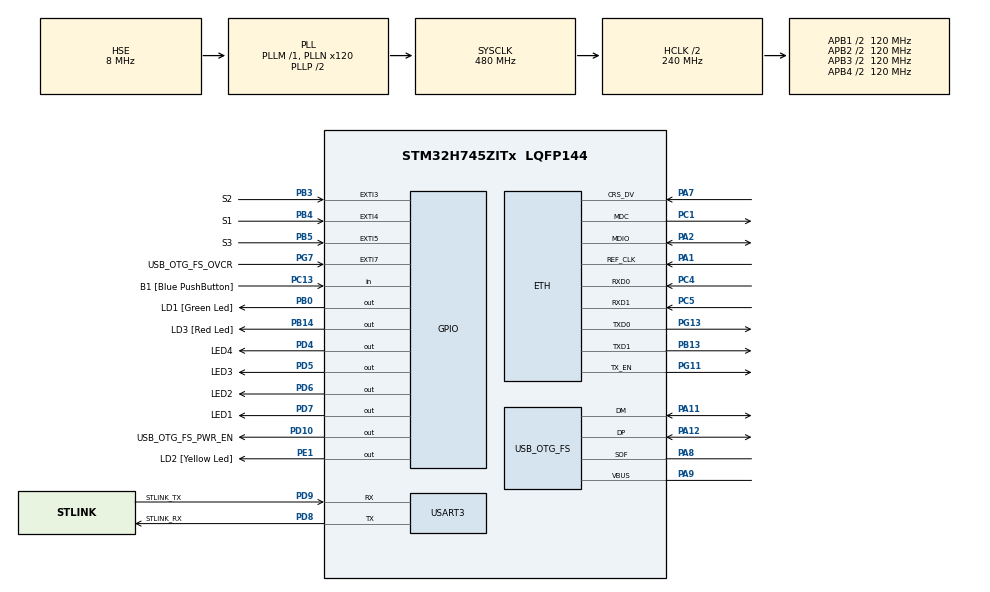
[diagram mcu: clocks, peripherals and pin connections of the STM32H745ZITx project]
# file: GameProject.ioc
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CortexM4.IPs=FATFS_M4\:I,FREERTOS_M4\:I,IWDG2\:I,RCC,WWDG2\:I,DMA,BDMA,MDMA,NVIC2\:I,USART3,ETH,DEBUG,USB_DEVICE_M4\:I,USB_HOST_M4\:I,PDM2PCM_M4\:I,PWR,RESMGR_UTILITY,SYS_M4\:I,CORTEX_M4\:I,OPENAMP_M4\:I,VREFBUF
CortexM4.Pins=PC13,PB3 (JTDO/TRACESWO),PB4 (NJTRST),PB5
CortexM7.IPs=FATFS_M7\:I,FREERTOS_M7\:I,IWDG1\:I,RCC\:I,WWDG1\:I,DMA\:I,BDMA\:I,MDMA\:I,NVIC1\:I,SYS\:I,USART3\:I,USB_OTG_FS\:I,ETH\:I,CORTEX_M7\:I,DEBUG\:I,USB_DEVICE_M7\:I,USB_HOST_M7\:I,PDM2PCM_M7\:I,PWR\:I,RESMGR_UTILITY\:I,OPENAMP_M7\:I,VREFBUF\:I,ADC1\:I
CortexM7.Pins=PB0,PB14,PD4,PD5,PD6,PD7,PE1
ETH.MediaInterface=HAL_ETH_RMII_MODE
Mcu.Family=STM32H7
Mcu.Name=STM32H745ZITx
Mcu.Package=LQFP144
NVIC1.PriorityGroup=NVIC_PRIORITYGROUP_4
NVIC2.EXTI3_IRQn=true\:0\:0\:false\:false\:true\:true\:true
NVIC2.EXTI4_IRQn=true\:0\:0\:false\:false\:true\:true\:true
NVIC2.EXTI9_5_IRQn=true\:0\:0\:false\:false\:true\:true\:true
NVIC2.PriorityGroup=NVIC_PRIORITYGROUP_4
PA1.Mode=RMII
PA1.PinAttribute=CortexM7
PA1.Signal=ETH_REF_CLK
PA11.Mode=Device_Only
PA11.PinAttribute=CortexM7
PA11.Signal=USB_OTG_FS_DM
PA12.Mode=Device_Only
PA12.PinAttribute=CortexM7
PA12.Signal=USB_OTG_FS_DP
PA2.Mode=RMII
PA2.PinAttribute=CortexM7
PA2.Signal=ETH_MDIO
PA7.Mode=RMII
PA7.PinAttribute=CortexM7
PA7.Signal=ETH_CRS_DV
PA8.Mode=Activate_SOF_FS
PA8.PinAttribute=CortexM7
PA8.Signal=USB_OTG_FS_SOF
PA9.Mode=Activate_VBUS
PA9.PinAttribute=CortexM7
PA9.Signal=USB_OTG_FS_VBUS
PB0.GPIO_Label=LD1 [Green Led]
PB0.PinAttribute=CortexM7
PB0.Signal=GPIO_Output
PB13.Mode=RMII
PB13.PinAttribute=CortexM7
PB13.Signal=ETH_TXD1
PB14.GPIO_Label=LD3 [Red Led]
PB14.PinAttribute=CortexM7
PB14.Signal=GPIO_Output
PB3\ (JTDO/TRACESWO).GPIO_Label=S2
PB3\ (JTDO/TRACESWO).GPIO_ModeDefaultEXTI=GPIO_MODE_IT_FALLING
PB3\ (JTDO/TRACESWO).PinAttribute=CortexM4
PB3\ (JTDO/TRACESWO).Signal=GPXTI3
PB4\ (NJTRST).GPIO_Label=S1
PB4\ (NJTRST).GPIO_ModeDefaultEXTI=GPIO_MODE_IT_FALLING
PB4\ (NJTRST).PinAttribute=CortexM4
PB4\ (NJTRST).Signal=GPXTI4
PB5.GPIO_Label=S3
PB5.GPIO_ModeDefaultEXTI=GPIO_MODE_IT_FALLING
PB5.PinAttribute=CortexM4
PB5.Signal=GPXTI5
PC1.Mode=RMII
PC1.PinAttribute=CortexM7
PC1.Signal=ETH_MDC
PC13.GPIO_Label=B1 [Blue PushButton]
PC13.PinAttribute=CortexM4
PC13.Signal=GPIO_Input
PC14-OSC32_IN\ (OSC32_IN).Mode=LSE-External-Oscillator
PC14-OSC32_IN\ (OSC32_IN).PinAttribute=CortexM7
PC14-OSC32_IN\ (OSC32_IN).Signal=RCC_OSC32_IN
PC15-OSC32_OUT\ (OSC32_OUT).Mode=LSE-External-Oscillator
PC15-OSC32_OUT\ (OSC32_OUT).PinAttribute=CortexM7
PC15-OSC32_OUT\ (OSC32_OUT).Signal=RCC_OSC32_OUT
PC4.Mode=RMII
PC4.PinAttribute=CortexM7
PC4.Signal=ETH_RXD0
PC5.Mode=RMII
PC5.PinAttribute=CortexM7
PC5.Signal=ETH_RXD1
PD10.GPIO_Label=USB_OTG_FS_PWR_EN
PD10.PinAttribute=Free
PD10.Signal=GPIO_Output
PD4.GPIO_Label=LED4
PD4.PinAttribute=CortexM7
PD4.PinState=GPIO_PIN_SET
PD4.Signal=GPIO_Output
PD5.GPIO_Label=LED3
PD5.PinAttribute=CortexM7
PD5.PinState=GPIO_PIN_SET
PD5.Signal=GPIO_Output
PD6.GPIO_Label=LED2
PD6.PinAttribute=CortexM7
PD6.PinState=GPIO_PIN_SET
PD6.Signal=GPIO_Output
PD7.GPIO_Label=LED1
PD7.PinAttribute=CortexM7
PD7.PinState=GPIO_PIN_SET
PD7.Signal=GPIO_Output
PD8.GPIO_Label=STLINK_RX
PD8.Mode=Asynchronous
PD8.PinAttribute=CortexM7
PD8.Signal=USART3_TX
PD9.GPIO_Label=STLINK_TX
PD9.Mode=Asynchronous
PD9.PinAttribute=CortexM7
PD9.Signal=USART3_RX
PE1.GPIO_Label=LD2 [Yellow Led]
PE1.PinAttribute=CortexM7
PE1.Signal=GPIO_Output
PG11.Mode=RMII
PG11.PinAttribute=CortexM7
PG11.Signal=ETH_TX_EN
PG13.Mode=RMII
PG13.PinAttribute=CortexM7
PG13.Signal=ETH_TXD0
PG7.GPIO_Label=USB_OTG_FS_OVCR
PG7.PinAttribute=Free
PG7.Signal=GPXTI7
PH0-OSC_IN\ (PH0).Mode=HSE-External-Clock-Source
PH0-OSC_IN\ (PH0).PinAttribute=CortexM7
PH0-OSC_IN\ (PH0).Signal=RCC_OSC_IN
PH1-OSC_OUT\ (PH1).PinAttribute=CortexM7
PH1-OSC_OUT\ (PH1).Signal=RCC_OSC_OUT
ProjectManager.HeapSize=M4-0x200,M7-0x200
ProjectManager.StackSize=M4-0x400,M7-0x400
ProjectManager.TargetToolchain=STM32CubeIDE
RCC.ADCFreq_Value=16125000
RCC.APB1Freq_Value=120000000
RCC.APB2Freq_Value=120000000
RCC.APB3Freq_Value=120000000
RCC.APB4Freq_Value=120000000
RCC.CortexFreq_Value=480000000
RCC.D1PPRE=RCC_APB3_DIV2
RCC.D2PPRE1=RCC_APB1_DIV2
RCC.D2PPRE2=RCC_APB2_DIV2
RCC.D3PPRE=RCC_APB4_DIV2
RCC.DIVM1=1
RCC.DIVM3=1
RCC.DIVN1=120
RCC.DIVN3=24
RCC.DIVQ3=4
RCC.HCLKFreq_Value=240000000
RCC.HPRE=RCC_HCLK_DIV2
RCC.HSE_VALUE=8000000
RCC.PLL2FRACN=0
RCC.PLL3FRACN=0
RCC.PLLFRACN=0
RCC.SYSCLKFreq_VALUE=480000000
RCC.SYSCLKSource=RCC_SYSCLKSOURCE_PLLCLK
RCC.SupplySource=PWR_DIRECT_SMPS_SUPPLY
RCC.USBCLockSelection=RCC_USBCLKSOURCE_PLL3
RCC.USBFreq_Value=48000000
USART3.VirtualMode-Asynchronous=VM_ASYNC
USB_OTG_FS.VirtualMode=Device_Only
VP_SYS_M4_VS_Systick.Mode=SysTick
board=NUCLEO-H745ZI-Q

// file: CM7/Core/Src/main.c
/* USER CODE BEGIN Header */
/**
  ******************************************************************************
  * @file           : main.c
  * @brief          : Main program body
  ******************************************************************************
  * @attention
  *
  * Copyright (c) 2021 STMicroelectronics.
  * All rights reserved.
  *
  * This software is licensed under terms that can be found in the LICENSE file
  * in the root directory of this software component.
  * If no LICENSE file comes with this software, it is provided AS-IS.
  *
  ******************************************************************************
  */
/* USER CODE END Header */
#include "main.h"
#include "string.h"

/* USER CODE BEGIN PD */

#ifndef HSEM_ID_0
#define HSEM_ID_0 (0U) /* HW semaphore 0*/
#endif
/* USER CODE END PD */

#if defined ( __ICCARM__ ) /*!< IAR Compiler */

#pragma location=0x30040000
ETH_DMADescTypeDef  DMARxDscrTab[ETH_RX_DESC_CNT]; /* Ethernet Rx DMA Descriptors */
#pragma location=0x30040060
ETH_DMADescTypeDef  DMATxDscrTab[ETH_TX_DESC_CNT]; /* Ethernet Tx DMA Descriptors */
#pragma location=0x300400c0
uint8_t Rx_Buff[ETH_RX_DESC_CNT][ETH_MAX_PACKET_SIZE]; /* Ethernet Receive Buffers */

#elif defined ( __CC_ARM )  /* MDK ARM Compiler */

__attribute__((at(0x30040000))) ETH_DMADescTypeDef  DMARxDscrTab[ETH_RX_DESC_CNT]; /* Ethernet Rx DMA Descriptors */
__attribute__((at(0x30040060))) ETH_DMADescTypeDef  DMATxDscrTab[ETH_TX_DESC_CNT]; /* Ethernet Tx DMA Descriptors */
__attribute__((at(0x300400c0))) uint8_t Rx_Buff[ETH_RX_DESC_CNT][ETH_MAX_PACKET_SIZE]; /* Ethernet Receive Buffer */

#elif defined ( __GNUC__ ) /* GNU Compiler */

ETH_DMADescTypeDef DMARxDscrTab[ETH_RX_DESC_CNT] __attribute__((section(".RxDecripSection"))); /* Ethernet Rx DMA Descriptors */
ETH_DMADescTypeDef DMATxDscrTab[ETH_TX_DESC_CNT] __attribute__((section(".TxDecripSection")));   /* Ethernet Tx DMA Descriptors */
uint8_t Rx_Buff[ETH_RX_DESC_CNT][ETH_MAX_PACKET_SIZE] __attribute__((section(".RxArraySection"))); /* Ethernet Receive Buffers */

#endif

ETH_TxPacketConfig TxConfig;

ETH_HandleTypeDef heth;

UART_HandleTypeDef huart3;

PCD_HandleTypeDef hpcd_USB_OTG_FS;

/* USER CODE BEGIN PV */
// CM7
//Create structure of share memory region
typedef struct
{
	uint32_t led1;
	uint32_t led2;
	uint32_t led3;
	float someVar;
	int someVar2;
	uint8_t State;
}ShareType;
//assign structure at specific memory address(SRAM4/RAM_D3)
ShareType *sharedMemory = (ShareType*)(0x38000000);

/* USER CODE END PV */

void SystemClock_Config(void);
static void MX_GPIO_Init(void);
static void MX_ETH_Init(void);
static void MX_USART3_UART_Init(void);
static void MX_USB_OTG_FS_PCD_Init(void);

int main(void)
{
/* USER CODE BEGIN Boot_Mode_Sequence_0 */
  int32_t timeout;
/* USER CODE END Boot_Mode_Sequence_0 */

/* USER CODE BEGIN Boot_Mode_Sequence_1 */
  /* Wait until CPU2 boots and enters in stop mode or timeout*/
  timeout = 0xFFFF;
  while((__HAL_RCC_GET_FLAG(RCC_FLAG_D2CKRDY) != RESET) && (timeout-- > 0));
  if ( timeout < 0 )
  {
  Error_Handler();
  }
/* USER CODE END Boot_Mode_Sequence_1 */
  /* MCU Configuration--------------------------------------------------------*/

  /* Reset of all peripherals, Initializes the Flash interface and the Systick. */
  HAL_Init();

  /* Configure the system clock */
  SystemClock_Config();
/* USER CODE BEGIN Boot_Mode_Sequence_2 */
/* When system initialization is finished, Cortex-M7 will release Cortex-M4 by means of
HSEM notification */
/*HW semaphore Clock enable*/
__HAL_RCC_HSEM_CLK_ENABLE();
/*Take HSEM */
HAL_HSEM_FastTake(HSEM_ID_0);
/*Release HSEM in order to notify the CPU2(CM4)*/
HAL_HSEM_Release(HSEM_ID_0,0);
/* wait until CPU2 wakes up from stop mode */
timeout = 0xFFFF;
while((__HAL_RCC_GET_FLAG(RCC_FLAG_D2CKRDY) == RESET) && (timeout-- > 0));
if ( timeout < 0 )
{
Error_Handler();
}
/* USER CODE END Boot_Mode_Sequence_2 */

  /* Initialize all configured peripherals */
  MX_GPIO_Init();
  MX_ETH_Init();
  MX_USART3_UART_Init();
  MX_USB_OTG_FS_PCD_Init();

  /* Infinite loop */
  /* USER CODE BEGIN WHILE */
  while (1)
  {
	  // Can CM7 lock HSEM1
	  if(HAL_HSEM_FastTake(1) == HAL_OK)
	  {
		  HAL_GPIO_WritePin(LD1_GPIO_Port,LD1_Pin,sharedMemory->led1);
		  // Unlock HSEM1
		  HAL_HSEM_Release(1,0);
	  }

	  HAL_GPIO_WritePin(LED1_GPIO_Port,LED1_Pin,GPIO_PIN_RESET);

	  if(HAL_HSEM_FastTake(2) == HAL_OK)
	  {
		  switch(sharedMemory->State){
		  case 0:
			  break;
		  case 1:
			  HAL_GPIO_WritePin(LED2_GPIO_Port,LED2_Pin,GPIO_PIN_RESET);
			  HAL_GPIO_WritePin(LED3_GPIO_Port,LED3_Pin,GPIO_PIN_SET);
			  HAL_GPIO_WritePin(LED4_GPIO_Port,LED4_Pin,GPIO_PIN_SET);
			  break;
		  case 2:
			  HAL_GPIO_WritePin(LED2_GPIO_Port,LED2_Pin,GPIO_PIN_SET);
			  HAL_GPIO_WritePin(LED3_GPIO_Port,LED3_Pin,GPIO_PIN_RESET);
			  HAL_GPIO_WritePin(LED4_GPIO_Port,LED4_Pin,GPIO_PIN_SET);
			  break;
		  case 3:
			  HAL_GPIO_WritePin(LED2_GPIO_Port,LED2_Pin,GPIO_PIN_SET);
			  HAL_GPIO_WritePin(LED3_GPIO_Port,LED3_Pin,GPIO_PIN_SET);
			  HAL_GPIO_WritePin(LED4_GPIO_Port,LED4_Pin,GPIO_PIN_RESET);
			  break;
		  default:
			  break;
		  }
		  // Unlock HSEM2
		  HAL_HSEM_Release(2,0);
	  }
    /* USER CODE END WHILE */

  }
}

void SystemClock_Config(void)
{
  RCC_OscInitTypeDef RCC_OscInitStruct = {0};
  RCC_ClkInitTypeDef RCC_ClkInitStruct = {0};

  /** Supply configuration update enable
  */
  HAL_PWREx_ConfigSupply(PWR_DIRECT_SMPS_SUPPLY);
  /** Configure the main internal regulator output voltage
  */
  __HAL_PWR_VOLTAGESCALING_CONFIG(PWR_REGULATOR_VOLTAGE_SCALE0);

  while(!__HAL_PWR_GET_FLAG(PWR_FLAG_VOSRDY)) {}
  /** Macro to configure the PLL clock source
  */
  __HAL_RCC_PLL_PLLSOURCE_CONFIG(RCC_PLLSOURCE_HSE);
  /** Initializes the RCC Oscillators according to the specified parameters
  * in the RCC_OscInitTypeDef structure.
  */
  RCC_OscInitStruct.OscillatorType = RCC_OSCILLATORTYPE_HSE;
  RCC_OscInitStruct.HSEState = RCC_HSE_BYPASS;
  RCC_OscInitStruct.PLL.PLLState = RCC_PLL_ON;
  RCC_OscInitStruct.PLL.PLLSource = RCC_PLLSOURCE_HSE;
  RCC_OscInitStruct.PLL.PLLM = 1;
  RCC_OscInitStruct.PLL.PLLN = 120;
  RCC_OscInitStruct.PLL.PLLP = 2;
  RCC_OscInitStruct.PLL.PLLQ = 2;
  RCC_OscInitStruct.PLL.PLLR = 2;
  RCC_OscInitStruct.PLL.PLLRGE = RCC_PLL1VCIRANGE_3;
  RCC_OscInitStruct.PLL.PLLVCOSEL = RCC_PLL1VCOWIDE;
  RCC_OscInitStruct.PLL.PLLFRACN = 0;
  if (HAL_RCC_OscConfig(&RCC_OscInitStruct) != HAL_OK)
  {
    Error_Handler();
  }
  /** Initializes the CPU, AHB and APB buses clocks
  */
  RCC_ClkInitStruct.ClockType = RCC_CLOCKTYPE_HCLK|RCC_CLOCKTYPE_SYSCLK
                              |RCC_CLOCKTYPE_PCLK1|RCC_CLOCKTYPE_PCLK2
                              |RCC_CLOCKTYPE_D3PCLK1|RCC_CLOCKTYPE_D1PCLK1;
  RCC_ClkInitStruct.SYSCLKSource = RCC_SYSCLKSOURCE_PLLCLK;
  RCC_ClkInitStruct.SYSCLKDivider = RCC_SYSCLK_DIV1;
  RCC_ClkInitStruct.AHBCLKDivider = RCC_HCLK_DIV2;
  RCC_ClkInitStruct.APB3CLKDivider = RCC_APB3_DIV2;
  RCC_ClkInitStruct.APB1CLKDivider = RCC_APB1_DIV2;
  RCC_ClkInitStruct.APB2CLKDivider = RCC_APB2_DIV2;
  RCC_ClkInitStruct.APB4CLKDivider = RCC_APB4_DIV2;

  if (HAL_RCC_ClockConfig(&RCC_ClkInitStruct, FLASH_LATENCY_4) != HAL_OK)
  {
    Error_Handler();
  }
}

static void MX_ETH_Init(void)
{

   static uint8_t MACAddr[6];

  heth.Instance = ETH;
  MACAddr[0] = 0x00;
  MACAddr[1] = 0x80;
  MACAddr[2] = 0xE1;
  MACAddr[3] = 0x00;
  MACAddr[4] = 0x00;
  MACAddr[5] = 0x00;
  heth.Init.MACAddr = &MACAddr[0];
  heth.Init.MediaInterface = HAL_ETH_RMII_MODE;
  heth.Init.TxDesc = DMATxDscrTab;
  heth.Init.RxDesc = DMARxDscrTab;
  heth.Init.RxBuffLen = 1524;

  if (HAL_ETH_Init(&heth) != HAL_OK)
  {
    Error_Handler();
  }

  memset(&TxConfig, 0 , sizeof(ETH_TxPacketConfig));
  TxConfig.Attributes = ETH_TX_PACKETS_FEATURES_CSUM | ETH_TX_PACKETS_FEATURES_CRCPAD;
  TxConfig.ChecksumCtrl = ETH_CHECKSUM_IPHDR_PAYLOAD_INSERT_PHDR_CALC;
  TxConfig.CRCPadCtrl = ETH_CRC_PAD_INSERT;

}

static void MX_USART3_UART_Init(void)
{

  huart3.Instance = USART3;
  huart3.Init.BaudRate = 115200;
  huart3.Init.WordLength = UART_WORDLENGTH_8B;
  huart3.Init.StopBits = UART_STOPBITS_1;
  huart3.Init.Parity = UART_PARITY_NONE;
  huart3.Init.Mode = UART_MODE_TX_RX;
  huart3.Init.HwFlowCtl = UART_HWCONTROL_NONE;
  huart3.Init.OverSampling = UART_OVERSAMPLING_16;
  huart3.Init.OneBitSampling = UART_ONE_BIT_SAMPLE_DISABLE;
  huart3.Init.ClockPrescaler = UART_PRESCALER_DIV1;
  huart3.AdvancedInit.AdvFeatureInit = UART_ADVFEATURE_NO_INIT;
  if (HAL_UART_Init(&huart3) != HAL_OK)
  {
    Error_Handler();
  }
  if (HAL_UARTEx_SetTxFifoThreshold(&huart3, UART_TXFIFO_THRESHOLD_1_8) != HAL_OK)
  {
    Error_Handler();
  }
  if (HAL_UARTEx_SetRxFifoThreshold(&huart3, UART_RXFIFO_THRESHOLD_1_8) != HAL_OK)
  {
    Error_Handler();
  }
  if (HAL_UARTEx_DisableFifoMode(&huart3) != HAL_OK)
  {
    Error_Handler();
  }

}

static void MX_USB_OTG_FS_PCD_Init(void)
{

  hpcd_USB_OTG_FS.Instance = USB_OTG_FS;
  hpcd_USB_OTG_FS.Init.dev_endpoints = 9;
  hpcd_USB_OTG_FS.Init.speed = PCD_SPEED_FULL;
  hpcd_USB_OTG_FS.Init.dma_enable = DISABLE;
  hpcd_USB_OTG_FS.Init.phy_itface = PCD_PHY_EMBEDDED;
  hpcd_USB_OTG_FS.Init.Sof_enable = DISABLE;
  hpcd_USB_OTG_FS.Init.low_power_enable = DISABLE;
  hpcd_USB_OTG_FS.Init.lpm_enable = DISABLE;
  hpcd_USB_OTG_FS.Init.battery_charging_enable = ENABLE;
  hpcd_USB_OTG_FS.Init.vbus_sensing_enable = ENABLE;
  hpcd_USB_OTG_FS.Init.use_dedicated_ep1 = DISABLE;
  if (HAL_PCD_Init(&hpcd_USB_OTG_FS) != HAL_OK)
  {
    Error_Handler();
  }

}

static void MX_GPIO_Init(void)
{
  GPIO_InitTypeDef GPIO_InitStruct = {0};

  /* GPIO Ports Clock Enable */
  __HAL_RCC_GPIOC_CLK_ENABLE();
  __HAL_RCC_GPIOH_CLK_ENABLE();
  __HAL_RCC_GPIOA_CLK_ENABLE();
  __HAL_RCC_GPIOB_CLK_ENABLE();
  __HAL_RCC_GPIOD_CLK_ENABLE();
  __HAL_RCC_GPIOG_CLK_ENABLE();
  __HAL_RCC_GPIOE_CLK_ENABLE();

  /*Configure GPIO pin Output Level */
  HAL_GPIO_WritePin(GPIOB, LD1_Pin|LD3_Pin, GPIO_PIN_RESET);

  /*Configure GPIO pin Output Level */
  HAL_GPIO_WritePin(GPIOD, LED4_Pin|LED3_Pin|LED2_Pin|LED1_Pin, GPIO_PIN_SET);

  /*Configure GPIO pin Output Level */
  HAL_GPIO_WritePin(LD2_GPIO_Port, LD2_Pin, GPIO_PIN_RESET);

  /*Configure GPIO pins : LD1_Pin LD3_Pin */
  GPIO_InitStruct.Pin = LD1_Pin|LD3_Pin;
  GPIO_InitStruct.Mode = GPIO_MODE_OUTPUT_PP;
  GPIO_InitStruct.Pull = GPIO_NOPULL;
  GPIO_InitStruct.Speed = GPIO_SPEED_FREQ_LOW;
  HAL_GPIO_Init(GPIOB, &GPIO_InitStruct);

  /*Configure GPIO pins : LED4_Pin LED3_Pin LED2_Pin LED1_Pin */
  GPIO_InitStruct.Pin = LED4_Pin|LED3_Pin|LED2_Pin|LED1_Pin;
  GPIO_InitStruct.Mode = GPIO_MODE_OUTPUT_PP;
  GPIO_InitStruct.Pull = GPIO_NOPULL;
  GPIO_InitStruct.Speed = GPIO_SPEED_FREQ_LOW;
  HAL_GPIO_Init(GPIOD, &GPIO_InitStruct);

  /*Configure GPIO pin : LD2_Pin */
  GPIO_InitStruct.Pin = LD2_Pin;
  GPIO_InitStruct.Mode = GPIO_MODE_OUTPUT_PP;
  GPIO_InitStruct.Pull = GPIO_NOPULL;
  GPIO_InitStruct.Speed = GPIO_SPEED_FREQ_LOW;
  HAL_GPIO_Init(LD2_GPIO_Port, &GPIO_InitStruct);

}

/* USER CODE BEGIN 4 */
//void HAL_GPIO_EXTI_Callback(uint16_t GPIO_Pin)
//{
//	if(GPIO_Pin == GPIO_PIN_4)
//	{
//		sharedMemory->State =  1;}
//	else if(GPIO_Pin == GPIO_PIN_3)
//	{
//		sharedMemory->State =  2;}
//	else if(GPIO_Pin == GPIO_PIN_5)
//	{
//		sharedMemory->State =  3;}
//}
/* USER CODE END 4 */

void Error_Handler(void)
{
  __disable_irq();
  while (1)
  {
  }
}
